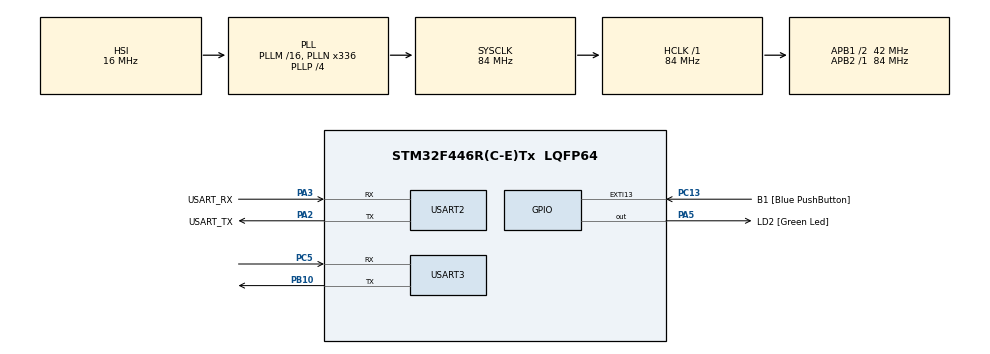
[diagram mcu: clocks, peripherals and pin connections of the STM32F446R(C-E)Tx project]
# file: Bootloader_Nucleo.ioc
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Mcu.Family=STM32F4
Mcu.Name=STM32F446R(C-E)Tx
Mcu.Package=LQFP64
NVIC.PriorityGroup=NVIC_PRIORITYGROUP_0
PA13.GPIO_Label=TMS
PA13.Mode=Serial_Wire
PA13.Signal=SYS_JTMS-SWDIO
PA14.GPIO_Label=TCK
PA14.Mode=Serial_Wire
PA14.Signal=SYS_JTCK-SWCLK
PA2.GPIO_Label=USART_TX
PA2.Mode=Asynchronous
PA2.Signal=USART2_TX
PA3.GPIO_Label=USART_RX
PA3.Mode=Asynchronous
PA3.Signal=USART2_RX
PA5.GPIO_Label=LD2 [Green Led]
PA5.Signal=GPIO_Output
PB10.Mode=Asynchronous
PB10.Signal=USART3_TX
PB3.GPIO_Label=SWO
PB3.Signal=SYS_JTDO-SWO
PC13.GPIO_Label=B1 [Blue PushButton]
PC13.GPIO_ModeDefaultEXTI=GPIO_MODE_IT_FALLING
PC13.Signal=GPXTI13
PC14-OSC32_IN.Mode=LSE-External-Oscillator
PC14-OSC32_IN.Signal=RCC_OSC32_IN
PC15-OSC32_OUT.Mode=LSE-External-Oscillator
PC15-OSC32_OUT.Signal=RCC_OSC32_OUT
PC5.Mode=Asynchronous
PC5.Signal=USART3_RX
PH0-OSC_IN.Mode=HSE-External-Oscillator
PH0-OSC_IN.Signal=RCC_OSC_IN
PH1-OSC_OUT.Mode=HSE-External-Oscillator
PH1-OSC_OUT.Signal=RCC_OSC_OUT
ProjectManager.HeapSize=0x200
ProjectManager.StackSize=0x400
ProjectManager.TargetToolchain=STM32CubeIDE
RCC.48MHZClocksFreq_Value=84000000
RCC.AHBFreq_Value=84000000
RCC.APB1CLKDivider=RCC_HCLK_DIV2
RCC.APB1Freq_Value=42000000
RCC.APB1TimFreq_Value=84000000
RCC.APB2Freq_Value=84000000
RCC.APB2TimFreq_Value=84000000
RCC.CortexFreq_Value=84000000
RCC.FLatency-AdvancedSettings=FLASH_LATENCY_2
RCC.HCLKFreq_Value=84000000
RCC.HSE_VALUE=8000000
RCC.HSI_VALUE=16000000
RCC.PLLN=336
RCC.PLLP=RCC_PLLP_DIV4
RCC.SYSCLKFreq_VALUE=84000000
RCC.SYSCLKSource=RCC_SYSCLKSOURCE_PLLCLK
RCC.USBFreq_Value=168000000
RCC.VCOOutputFreq_Value=336000000
USART2.VirtualMode=VM_ASYNC
USART3.VirtualMode=VM_ASYNC
VP_CRC_VS_CRC.Mode=CRC_Activate
board=NUCLEO-F446RE

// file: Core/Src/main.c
/* USER CODE BEGIN Header */
/**
  ******************************************************************************
  * @file           : main.c
  * @brief          : Main program body
  ******************************************************************************
  * @attention
  *
  * Copyright (c) 2024 STMicroelectronics.
  * All rights reserved.
  *
  * This software is licensed under terms that can be found in the LICENSE file
  * in the root directory of this software component.
  * If no LICENSE file comes with this software, it is provided AS-IS.
  *
  ******************************************************************************
  */
/* USER CODE END Header */
#include "main.h"
#include "bootloader.h"

/* USER CODE BEGIN Includes */
#include <string.h>
/* USER CODE END Includes */

CRC_HandleTypeDef hcrc;

UART_HandleTypeDef huart2;
UART_HandleTypeDef huart3;

void SystemClock_Config(void);
static void MX_GPIO_Init(void);
static void MX_USART2_UART_Init(void);
static void MX_USART3_UART_Init(void);
static void MX_CRC_Init(void);
/* USER CODE BEGIN PFP */
char HelloBootloader[] = "Hello From Bootloader \r\n";

/* USER CODE END PFP */

int main(void)
{

  /* MCU Configuration--------------------------------------------------------*/

  /* Reset of all peripherals, Initializes the Flash interface and the Systick. */
  HAL_Init();

  /* Configure the system clock */
  SystemClock_Config();

  /* Initialize all configured peripherals */
  MX_GPIO_Init();
  MX_USART2_UART_Init();
  MX_USART3_UART_Init();
  MX_CRC_Init();
  /* USER CODE BEGIN 2 */
  if (GPIO_PIN_RESET == HAL_GPIO_ReadPin(B1_GPIO_Port, B1_Pin)){
	  Bootloader_UartReadData();
  }else{
	  Bootloader_JumpToApp();
  }

  /* USER CODE END 2 */

  /* Infinite loop */
  while (1)
  {

	 HAL_UART_Transmit(&huart2, (uint8_t*)HelloBootloader, sizeof(HelloBootloader), HAL_MAX_DELAY);
	 HAL_Delay(1000);

  }
}

void SystemClock_Config(void)
{
  RCC_OscInitTypeDef RCC_OscInitStruct = {0};
  RCC_ClkInitTypeDef RCC_ClkInitStruct = {0};

  /** Configure the main internal regulator output voltage
  */
  __HAL_RCC_PWR_CLK_ENABLE();
  __HAL_PWR_VOLTAGESCALING_CONFIG(PWR_REGULATOR_VOLTAGE_SCALE3);

  /** Initializes the RCC Oscillators according to the specified parameters
  * in the RCC_OscInitTypeDef structure.
  */
  RCC_OscInitStruct.OscillatorType = RCC_OSCILLATORTYPE_HSI;
  RCC_OscInitStruct.HSIState = RCC_HSI_ON;
  RCC_OscInitStruct.HSICalibrationValue = RCC_HSICALIBRATION_DEFAULT;
  RCC_OscInitStruct.PLL.PLLState = RCC_PLL_ON;
  RCC_OscInitStruct.PLL.PLLSource = RCC_PLLSOURCE_HSI;
  RCC_OscInitStruct.PLL.PLLM = 16;
  RCC_OscInitStruct.PLL.PLLN = 336;
  RCC_OscInitStruct.PLL.PLLP = RCC_PLLP_DIV4;
  RCC_OscInitStruct.PLL.PLLQ = 2;
  RCC_OscInitStruct.PLL.PLLR = 2;
  if (HAL_RCC_OscConfig(&RCC_OscInitStruct) != HAL_OK)
  {
    Error_Handler();
  }

  /** Initializes the CPU, AHB and APB buses clocks
  */
  RCC_ClkInitStruct.ClockType = RCC_CLOCKTYPE_HCLK|RCC_CLOCKTYPE_SYSCLK
                              |RCC_CLOCKTYPE_PCLK1|RCC_CLOCKTYPE_PCLK2;
  RCC_ClkInitStruct.SYSCLKSource = RCC_SYSCLKSOURCE_PLLCLK;
  RCC_ClkInitStruct.AHBCLKDivider = RCC_SYSCLK_DIV1;
  RCC_ClkInitStruct.APB1CLKDivider = RCC_HCLK_DIV2;
  RCC_ClkInitStruct.APB2CLKDivider = RCC_HCLK_DIV1;

  if (HAL_RCC_ClockConfig(&RCC_ClkInitStruct, FLASH_LATENCY_2) != HAL_OK)
  {
    Error_Handler();
  }
}

static void MX_CRC_Init(void)
{

  hcrc.Instance = CRC;
  if (HAL_CRC_Init(&hcrc) != HAL_OK)
  {
    Error_Handler();
  }

}

static void MX_USART2_UART_Init(void)
{

  huart2.Instance = USART2;
  huart2.Init.BaudRate = 115200;
  huart2.Init.WordLength = UART_WORDLENGTH_8B;
  huart2.Init.StopBits = UART_STOPBITS_1;
  huart2.Init.Parity = UART_PARITY_NONE;
  huart2.Init.Mode = UART_MODE_TX_RX;
  huart2.Init.HwFlowCtl = UART_HWCONTROL_NONE;
  huart2.Init.OverSampling = UART_OVERSAMPLING_16;
  if (HAL_UART_Init(&huart2) != HAL_OK)
  {
    Error_Handler();
  }

}

static void MX_USART3_UART_Init(void)
{

  huart3.Instance = USART3;
  huart3.Init.BaudRate = 115200;
  huart3.Init.WordLength = UART_WORDLENGTH_8B;
  huart3.Init.StopBits = UART_STOPBITS_1;
  huart3.Init.Parity = UART_PARITY_NONE;
  huart3.Init.Mode = UART_MODE_TX_RX;
  huart3.Init.HwFlowCtl = UART_HWCONTROL_NONE;
  huart3.Init.OverSampling = UART_OVERSAMPLING_16;
  if (HAL_UART_Init(&huart3) != HAL_OK)
  {
    Error_Handler();
  }

}

static void MX_GPIO_Init(void)
{
  GPIO_InitTypeDef GPIO_InitStruct = {0};

  /* GPIO Ports Clock Enable */
  __HAL_RCC_GPIOC_CLK_ENABLE();
  __HAL_RCC_GPIOH_CLK_ENABLE();
  __HAL_RCC_GPIOA_CLK_ENABLE();
  __HAL_RCC_GPIOB_CLK_ENABLE();

  /*Configure GPIO pin Output Level */
  HAL_GPIO_WritePin(LD2_GPIO_Port, LD2_Pin, GPIO_PIN_RESET);

  /*Configure GPIO pin : B1_Pin */
  GPIO_InitStruct.Pin = B1_Pin;
  GPIO_InitStruct.Mode = GPIO_MODE_IT_FALLING;
  GPIO_InitStruct.Pull = GPIO_NOPULL;
  HAL_GPIO_Init(B1_GPIO_Port, &GPIO_InitStruct);

  /*Configure GPIO pin : LD2_Pin */
  GPIO_InitStruct.Pin = LD2_Pin;
  GPIO_InitStruct.Mode = GPIO_MODE_OUTPUT_PP;
  GPIO_InitStruct.Pull = GPIO_NOPULL;
  GPIO_InitStruct.Speed = GPIO_SPEED_FREQ_LOW;
  HAL_GPIO_Init(LD2_GPIO_Port, &GPIO_InitStruct);

}

/* USER CODE BEGIN 4 */
/*%%%%%%%%%%%%%%%%%%%%%%%%%%%%%%%%%%%%%%%%%%%%%%%%%%%%%%%%%%%%%%%%%%%%%%%%%%%%%%%*/

void Bootloader_UartReadData(void){

	/*This function is used to read commands from host*/

	uint8_t Local_u8CmdPacket[255] = {0};
	while(1)
	{
		/*Clear the command packet every iteration*/
		memset(Local_u8CmdPacket ,0 ,255);
		/*read the "length to follow" field command*/
		HAL_UART_Receive(&huart2, Local_u8CmdPacket, 1, HAL_MAX_DELAY);

		/*read the rest of the command, its size is the previous byte*/
		HAL_UART_Receive(&huart2, &Local_u8CmdPacket[1] , Local_u8CmdPacket[0],HAL_MAX_DELAY);

		/*Check the command code, then handle the command*/
		switch(Local_u8CmdPacket[1]){
			case BL_CMD_GET_VER            : BL_voidHandle_GetVersion_CMD(Local_u8CmdPacket);       break;
			case BL_CMD_GET_HELP           : BL_voidHandle_GetHelp_CMD(Local_u8CmdPacket);   	    break;
			case BL_CMD_GET_CHIP_ID        : BL_voidHandle_GetChipID_CMD(Local_u8CmdPacket);   	    break;
			case BL_CMD_GET_RDP_STATUS     : BL_voidHandle_GetRDPStatus_CMD(Local_u8CmdPacket);     break;
			case BL_CMD_GO_TO_ADDR         : BL_voidHandle_GoToAddress_CMD(Local_u8CmdPacket);      break;
			case BL_CMD_FLASH_ERASE        : BL_voidHandle_FlashErase_CMD(Local_u8CmdPacket);       break;
			case BL_CMD_MEM_WRITE          : BL_voidHandle_MemoryWrite_CMD(Local_u8CmdPacket);      break;
			case BL_CMD_ENABLE_RW_PROTECT  : BL_voidHandle_EnableRWProtect_CMD(Local_u8CmdPacket);  break;
			case BL_CMD_MEM_READ           : BL_voidHandle_MemoryRead_CMD(Local_u8CmdPacket);       break;
			case BL_CMD_READ_SECTOR_STATUS : BL_voidHandle_ReadSectorStatus_CMD(Local_u8CmdPacket); break;
			case BL_CMD_OTP_READ           : BL_voidHandle_OTPRead_CMD(Local_u8CmdPacket);          break;
			case BL_CMD_DISABLE_RW_PROTECT : BL_voidHandle_DisableRWProtect_CMD(Local_u8CmdPacket); break;

			default:
				break;
		}
	}
}

void Bootloader_JumpToApp(void){

	/* Configure MSP of user app by reading value from base addres of sector2 */
	uint32_t Local_u32MSPVal = *((volatile uint32_t*)(0x08008000));

	uint32_t ResetHandlerAddress;

	/*Pointer to function to hold the address of the reset handler of the user app*/
	void (*App_ResetHandler)();

	/* Write the user MSP Value into MSP register
	 *
	 * MSR -> Move Special Register
	 * MSP -> Main stack pointer register
	 * %0 receive variable:output:input
	 * "r" for register
	 * */
	__asm volatile("MSR MSP, %0"::"r"(Local_u32MSPVal));

	/*Get reset handler address of user app*/
	ResetHandlerAddress = *((volatile uint32_t *)( 0x08008000UL + 4 ));

	App_ResetHandler = (void *)ResetHandlerAddress;

	/*Jump to the user app reset handler*/
	App_ResetHandler();
}

/*%%%%%%%%%%%%%%%%%%%%%%%%%%%%%%%%%%%%%%%%%%%%%%%%%%%%%%%%%%%%%%%%%%%%%%%%%%%%%%%*/
/* USER CODE END 4 */

void Error_Handler(void)
{
  __disable_irq();
  while (1)
  {
  }
}
